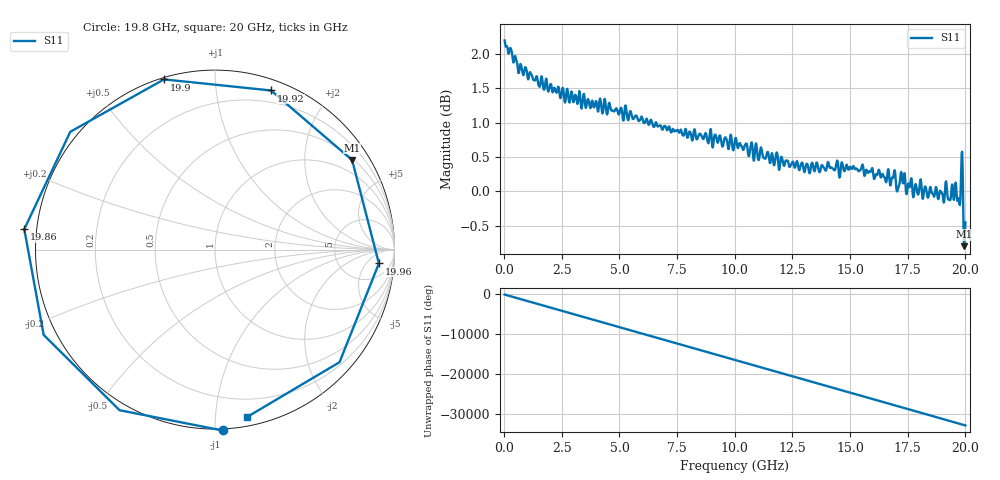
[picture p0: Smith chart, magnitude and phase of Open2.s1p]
! File created by SignalIntegrity v1.1.10: Signal and Power Integrity Tools
! https://github.com/TeledyneLeCroy/SignalIntegrity
# MHz S MA R 50.0
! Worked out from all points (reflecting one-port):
!   1000 points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, 20 MHz to 20 GHz, reference 50 ohm
!   lowest |S11| = -0.8 dB at 19.94 GHz (marker M1), VSWR 21.82, Z = 27.5 + j164 ohm
!   phase of S11 starts at -32 deg and turns -32807 deg over the sweep
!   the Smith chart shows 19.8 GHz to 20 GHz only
!   S11 on the Smith chart (normalised r, x): 19.8 GHz: -0.01, -1.04; 19.86 GHz: -0.03, +0.05; 19.9 GHz: 0.01, +0.74; 19.92 GHz: 0.09, +1.41; 19.96 GHz: 12, -11; 20 GHz: 0.06, -1.21
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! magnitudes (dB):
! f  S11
! 20 MHz  2.2
! 720 MHz  1.9
! 2.52 GHz  1.5
! 5.02 GHz  1.2
! 7.52 GHz  0.9
! 10.02 GHz  0.8
! 12.52 GHz  0.4
! 15.02 GHz  0.4
! 16.8 GHz  0.2
! 16.88 GHz  0.2
! 17.08 GHz  0.0
! 17.28 GHz  0.1
! 17.52 GHz  0.1
! 17.6 GHz  0.1
! 17.82 GHz  0.1
! 18 GHz  0.0
! 19 GHz  0.0
! 19.2 GHz  0.0
! 19.3 GHz  -0.1
! 19.5 GHz  -0.1
! 19.7 GHz  -0.1
! 19.8 GHz  0.1
! 19.86 GHz  0.6
! 19.9 GHz  -0.1
! 19.92 GHz  -0.5
! 19.94 GHz  -0.8
! 19.96 GHz  -0.8
! 20 GHz  -0.5
